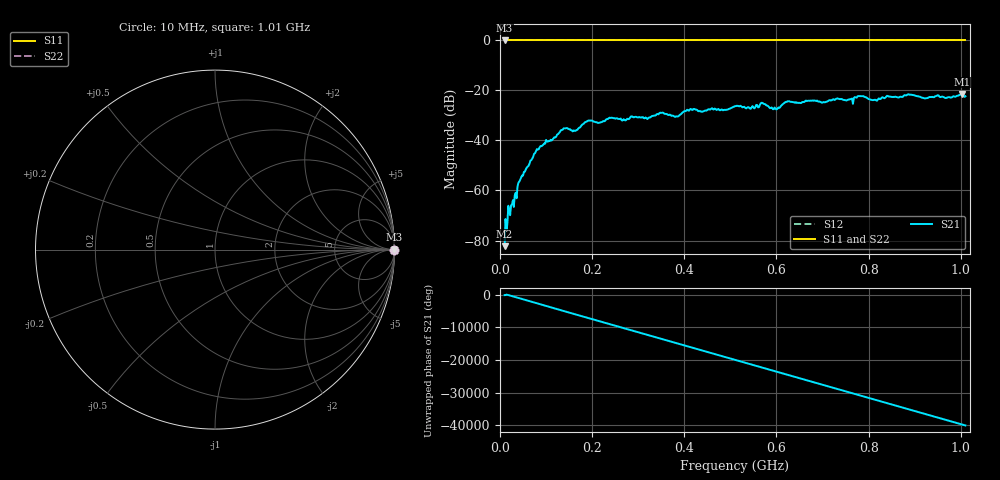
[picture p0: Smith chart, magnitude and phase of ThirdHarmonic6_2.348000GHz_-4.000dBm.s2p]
! 8/17/2025 3:30:59 AM
! C:\ANRITSUVNA\TEMP\TEMP.S2P
! CHANNEL.1
! TR.MEASUREMENT
! RAW.DATA
! RF.CORRECTION.OFF
! AVERAGING.OFF
! IF.BANDWIDTH: 5KHZ
! SWEEPTYPE:  FREQ.SWEEP(Linear)
! Reference Plane Port Info
! PORT:  PORT1  PORT2
! DISTANCE:  0  m  0  m
! TIME:  0  s  0  s
! PHASE.OFFSET:  0  deg.  0  deg.
! LOSS:  0  dB  0  dB
! REF.LOSS:  0  dB  0  dB
! REF.FREQ:  0  Hz  0  Hz
! Power Info
! POWER:  -20  dBm  -20  dBm
! EFF.POWER:  -20  dBm  -20  dBm
! SOURCE.ATTEN:  0  dB  0  dB
! TEST.ATTEN:  0  dB  0  dB
# GHZ S RI R 50.0
! FREQ.GHZ  S11RE  S11IM  S21RE  S21IM  S12RE  S12IM  S22RE  S22IM
!; PortSelection: Port_12
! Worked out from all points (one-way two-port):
!   501 points, 10 MHz to 1.01 GHz, reference 50 ohm
!   highest |S21| = -21.45 dB at 1.002 GHz (marker M1); lowest = -82.3 dB at 10 MHz (marker M2)
!   lowest |S11| = 0.0 dB at 10 MHz (marker M3)
!   |S11| at or under -10 dB: nowhere
!   |S22| runs from 0.0 to 0.0 dB; largest |S21 - S12| = 1.1
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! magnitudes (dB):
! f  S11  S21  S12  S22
! 10 MHz  0.0  -82.3  0.0  0.0
! 16 MHz  0.0  -73.3  0.0  0.0
! 34 MHz  0.0  -60.9  0.0  0.0
! 42 MHz  0.0  -56.4  0.0  0.0
! 78 MHz  0.0  -44.3  0.0  0.0
! 136 MHz  0.0  -35.7  0.0  0.0
! 162 MHz  0.0  -36.1  0.0  0.0
! 178 MHz  0.0  -33.7  0.0  0.0
! 194 MHz  0.0  -32.0  0.0  0.0
! 322 MHz  0.0  -31.0  0.0  0.0
! 344 MHz  0.0  -29.5  0.0  0.0
! 384 MHz  0.0  -30.4  0.0  0.0
! 410 MHz  0.0  -28.1  0.0  0.0
! 510 MHz  0.0  -26.3  0.0  0.0
! 548 MHz  0.0  -26.2  0.0  0.0
! 570 MHz  0.0  -25.0  0.0  0.0
! 598 MHz  0.0  -27.3  0.0  0.0
! 624 MHz  0.0  -24.3  0.0  0.0
! 678 MHz  0.0  -24.0  0.0  0.0
! 844 MHz  0.0  -22.4  0.0  0.0
! 1.002 GHz  0.0  -21.4  0.0  0.0
! 1.01 GHz  0.0  -22.3  0.0  0.0
